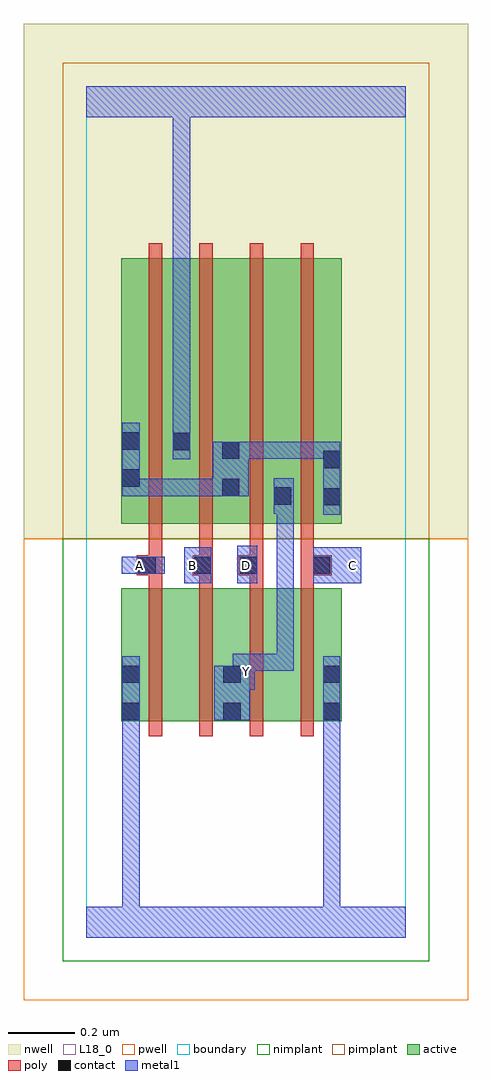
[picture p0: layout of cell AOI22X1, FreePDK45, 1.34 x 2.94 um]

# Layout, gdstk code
import gdstk
lib = gdstk.Library(unit=1e-6, precision=1e-09)
def R(c, l, rs):  # rectangles x0, y0, x1, y1
    for r in rs: c.add(gdstk.rectangle(r[:2], r[2:], *l))
def A(c, l, x, y, w, h, nx, ny, dx, dy):  # array of equal rectangles
    R(c, l, [(x+i*dx, y+j*dy, x+i*dx+w, y+j*dy+h) for i in range(nx) for j in range(ny)])
active = (1, 0)
pwell = (2, 0)
nwell = (3, 0)
nimplant = (4, 0)
pimplant = (5, 0)
poly = (9, 0)
contact = (10, 0)
metal1 = (11, 0)
L18_0 = (18, 0)
boundary = (235, 0)

aoi22x1 = lib.new_cell('AOI22X1')
R(aoi22x1, active, [(0.104,0.65,0.164,1.05), (0.104,0.65,0.284,1.05), (0.284,0.65,0.468,1.05), (0.408,0.65,0.588,1.05), (0.408,0.65,0.468,0.822), (0.588,0.65,0.768,1.05), (0.708,0.65,0.768,1.05), (0.104,1.244,0.164,2.044), (0.104,1.244,0.316,2.044), (0.256,1.244,0.316,2.044), (0.256,1.244,0.464,2.044), (0.404,1.244,0.464,2.044), (0.404,1.244,0.62,2.044), (0.56,1.244,0.768,2.044), (0.708,1.244,0.768,2.044), (0.56,1.298,0.62,2.044)])
R(aoi22x1, pwell, [(-0.188,-0.188,1.148,1.2)])
R(aoi22x1, nwell, [(-0.188,1.2,1.148,2.748)])
R(aoi22x1, nimplant, [(-0.072,-0.072,1.032,1.2)])
R(aoi22x1, pimplant, [(-0.072,1.2,1.032,2.632)])
A(aoi22x1, poly, 0.188, 0.606, 0.04, 0.488, 4, 1, 0.152, 0)
A(aoi22x1, poly, 0.188, 1.054, 0.04, 0.076, 4, 1, 0.152, 0)
A(aoi22x1, poly, 0.188, 1.11, 0.04, 0.13, 4, 1, 0.152, 0)
A(aoi22x1, poly, 0.188, 1.2, 0.04, 0.888, 4, 1, 0.152, 0)
R(aoi22x1, poly, [(0.152,1.09,0.228,1.15), (0.32,1.09,0.38,1.15), (0.34,1.09,0.38,1.13), (0.34,1.09,0.38,1.13), (0.458,1.09,0.532,1.15), (0.492,1.09,0.532,1.13), (0.492,1.09,0.532,1.13), (0.644,1.09,0.684,1.13), (0.644,1.09,0.684,1.13), (0.644,1.09,0.738,1.15), (0.188,1.11,0.228,1.15), (0.188,1.11,0.228,1.15)])
R(aoi22x1, contact, [(0.108,0.654,0.16,0.706), (0.412,0.654,0.464,0.706), (0.712,0.654,0.764,0.706), (0.108,0.766,0.16,0.818), (0.412,0.766,0.464,0.818), (0.712,0.766,0.764,0.818), (0.156,1.094,0.208,1.146), (0.324,1.094,0.376,1.146), (0.462,1.094,0.514,1.146), (0.682,1.094,0.734,1.146), (0.712,1.3,0.764,1.352), (0.564,1.302,0.616,1.354), (0.408,1.328,0.46,1.38), (0.108,1.356,0.16,1.408), (0.712,1.412,0.764,1.464), (0.408,1.44,0.46,1.492), (0.26,1.466,0.312,1.518), (0.108,1.468,0.16,1.52)])
R(aoi22x1, metal1, [(0,0,0.96,0.092), (0.108,0.04,0.16,0.092), (0.108,0.04,0.16,0.092), (0.108,0.04,0.16,0.092), (0.108,0.04,0.16,0.092), (0.108,0.04,0.16,0.092), (0.108,0.04,0.16,0.092), (0.108,0.04,0.16,0.092), (0.108,0.04,0.16,0.092), (0.108,0.04,0.16,0.092), (0.108,0.04,0.16,0.092), (0.108,0.04,0.16,0.092), (0.108,0.04,0.16,0.092), (0.108,0.04,0.16,0.678), (0.712,0.04,0.764,0.092), (0.712,0.04,0.764,0.092), (0.712,0.04,0.764,0.092), (0.712,0.04,0.764,0.092), (0.712,0.04,0.764,0.092), (0.712,0.04,0.764,0.092), (0.712,0.04,0.764,0.092), (0.712,0.04,0.764,0.092), (0.712,0.04,0.764,0.092), (0.712,0.04,0.764,0.092), (0.712,0.04,0.764,0.678), (0.108,0.626,0.16,0.846), (0.712,0.626,0.764,0.678), (0.712,0.626,0.764,0.678), (0.712,0.626,0.764,0.846), (0.384,0.654,0.492,0.818), (0.44,0.746,0.506,0.854), (0.44,0.766,0.492,0.818), (0.454,0.802,0.506,0.854), (0.454,0.802,0.506,0.854), (0.454,0.802,0.624,0.854), (0.572,0.802,0.624,0.854), (0.572,0.802,0.624,1.326), (0.294,1.066,0.376,1.174), (0.454,1.066,0.514,1.178), (0.682,1.066,0.826,1.174), (0.106,1.094,0.236,1.146), (0.712,1.272,0.764,1.492), (0.564,1.274,0.624,1.382), (0.572,1.274,0.624,1.326), (0.572,1.274,0.624,1.326), (0.108,1.328,0.16,1.38), (0.108,1.328,0.16,1.38), (0.108,1.328,0.16,1.548), (0.108,1.328,0.322,1.38), (0.27,1.328,0.322,1.38), (0.27,1.328,0.322,1.38), (0.27,1.328,0.322,1.38), (0.27,1.328,0.432,1.38), (0.38,1.328,0.488,1.492), (0.26,1.438,0.312,1.546), (0.436,1.44,0.488,1.492), (0.436,1.44,0.488,1.492), (0.436,1.44,0.488,1.492), (0.436,1.44,0.488,1.492), (0.436,1.44,0.616,1.492), (0.564,1.44,0.616,1.492), (0.564,1.44,0.764,1.492), (0.712,1.44,0.764,1.492), (0.712,1.44,0.764,1.492), (0.26,1.494,0.312,2.52), (0,2.468,0.96,2.56), (0.26,2.468,0.312,2.52), (0.26,2.468,0.312,2.52), (0.26,2.468,0.312,2.52), (0.26,2.468,0.312,2.52), (0.26,2.468,0.312,2.52), (0.26,2.468,0.312,2.52), (0.26,2.468,0.312,2.52), (0.26,2.468,0.312,2.52)])
A(aoi22x1, L18_0, 0.134, 1.094, 0.052, 0.052, 3, 1, 0.16, 0)
R(aoi22x1, L18_0, [(0,0,0.96,0.092), (0.108,0.04,0.16,0.092), (0.108,0.04,0.16,0.092), (0.108,0.04,0.16,0.092), (0.108,0.04,0.16,0.092), (0.108,0.04,0.16,0.092), (0.108,0.04,0.16,0.092), (0.108,0.04,0.16,0.092), (0.108,0.04,0.16,0.092), (0.108,0.04,0.16,0.092), (0.108,0.04,0.16,0.092), (0.108,0.04,0.16,0.092), (0.108,0.04,0.16,0.092), (0.108,0.04,0.16,0.678), (0.712,0.04,0.764,0.092), (0.712,0.04,0.764,0.092), (0.712,0.04,0.764,0.092), (0.712,0.04,0.764,0.092), (0.712,0.04,0.764,0.092), (0.712,0.04,0.764,0.092), (0.712,0.04,0.764,0.092), (0.712,0.04,0.764,0.092), (0.712,0.04,0.764,0.092), (0.712,0.04,0.764,0.092), (0.712,0.04,0.764,0.678), (0.108,0.626,0.16,0.846), (0.712,0.626,0.764,0.678), (0.712,0.626,0.764,0.678), (0.712,0.626,0.764,0.846), (0.384,0.654,0.492,0.818), (0.44,0.746,0.506,0.854), (0.44,0.766,0.492,0.818), (0.454,0.774,0.506,0.826), (0.454,0.802,0.506,0.854), (0.454,0.802,0.506,0.854), (0.454,0.802,0.624,0.854), (0.572,0.802,0.624,0.854), (0.572,0.802,0.624,1.326), (0.294,1.066,0.376,1.174), (0.454,1.066,0.514,1.178), (0.682,1.066,0.826,1.174), (0.106,1.094,0.236,1.146), (0.774,1.094,0.826,1.146), (0.564,1.274,0.624,1.382), (0.572,1.274,0.624,1.326), (0.572,1.274,0.624,1.326), (0.26,1.438,0.312,1.546), (0.26,1.494,0.312,2.52), (0,2.468,0.96,2.56), (0.26,2.468,0.312,2.52), (0.26,2.468,0.312,2.52), (0.26,2.468,0.312,2.52), (0.26,2.468,0.312,2.52), (0.26,2.468,0.312,2.52), (0.26,2.468,0.312,2.52), (0.26,2.468,0.312,2.52), (0.26,2.468,0.312,2.52)])
R(aoi22x1, boundary, [(0,0,0.96,2.56)])
aoi22x1.add(gdstk.Label('A', (0.16,1.12), layer=11, texttype=0))
aoi22x1.add(gdstk.Label('B', (0.32,1.12), layer=11, texttype=0))
aoi22x1.add(gdstk.Label('C', (0.8,1.12), layer=11, texttype=0))
aoi22x1.add(gdstk.Label('D', (0.48,1.12), layer=11, texttype=0))
aoi22x1.add(gdstk.Label('Y', (0.48,0.8), layer=11, texttype=0))

lib.write_gds('AOI22X1.gds')
